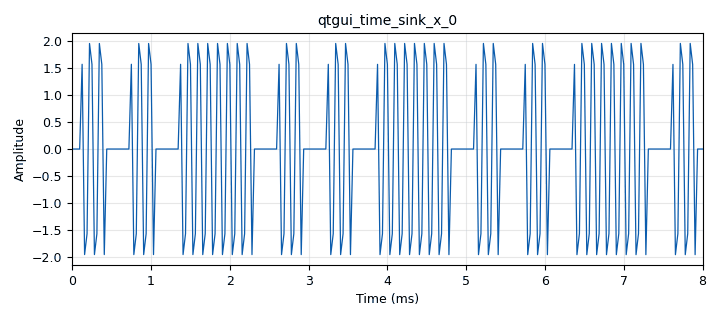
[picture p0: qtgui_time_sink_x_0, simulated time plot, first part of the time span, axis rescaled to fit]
options:
  parameters:
    author: OuDret
    generate_options: qt_gui
    id: tag
    output_language: python
    title: RFID Tag
  states: {}

blocks:
- name: amplitude
  id: variable
  parameters:
    value: '2.5'
  states: {}
- name: freq
  id: variable
  parameters:
    value: 15.56e6
  states: {}
- name: samp_rate
  id: variable
  parameters:
    value: '32000'
  states: {}
- name: tag_id
  id: variable
  parameters:
    value: (1, 0, 1, 0, 1, 0, 1, 1)
  states: {}
- name: analog_sig_source_x_0
  id: analog_sig_source_x
  parameters:
    amp: amplitude
    freq: freq
    offset: '0'
    phase: '0'
    samp_rate: samp_rate
    type: complex
    waveform: analog.GR_COS_WAVE
  states: {}
- name: blocks_complex_to_float_0
  id: blocks_complex_to_float
  parameters: {}
  states: {}
- name: blocks_file_sink_0
  id: blocks_file_sink
  parameters:
    file: /home/joan/Desktop/gnu_radio_rfid_ask/tag_signal.txt
    type: complex
  states: {}
- name: blocks_multiply_xx_0
  id: blocks_multiply_xx
  parameters:
    type: complex
  states: {}
- name: blocks_repeat_0
  id: blocks_repeat
  parameters:
    interp: '10'
    type: complex
  states: {}
- name: blocks_throttle_0
  id: blocks_throttle
  parameters:
    samples_per_second: samp_rate
    type: complex
  states: {}
- name: blocks_vector_source_x_0
  id: blocks_vector_source_x
  parameters:
    repeat: 'True'
    type: complex
    vector: tag_id
  states: {}
- name: qtgui_time_sink_x_0
  id: qtgui_time_sink_x
  parameters:
    size: '1024'
    srate: samp_rate
    type: float
  states: {}
- name: qtgui_time_sink_x_0_0
  id: qtgui_time_sink_x
  parameters:
    size: '1024'
    srate: samp_rate
    type: complex
  states: {state: disabled}
- name: soapy_bladerf_sink_0
  id: soapy_bladerf_sink
  parameters:
    center_freq: freq
    samp_rate: samp_rate
    type: fc32
  states: {state: disabled}
- name: soapy_bladerf_source_0
  id: soapy_bladerf_source
  parameters:
    center_freq: freq
    samp_rate: samp_rate
    type: fc32
  states: {state: disabled}

connections:
- [analog_sig_source_x_0, '0', blocks_multiply_xx_0, '1']
- [blocks_complex_to_float_0, '0', qtgui_time_sink_x_0, '0']
- [blocks_multiply_xx_0, '0', blocks_throttle_0, '0']
- [blocks_repeat_0, '0', blocks_multiply_xx_0, '0']
- [blocks_throttle_0, '0', blocks_complex_to_float_0, '0']
- [blocks_throttle_0, '0', blocks_file_sink_0, '0']
- [blocks_throttle_0, '0', qtgui_time_sink_x_0_0, '0']
- [blocks_throttle_0, '0', soapy_bladerf_sink_0, '0']
- [blocks_vector_source_x_0, '0', blocks_repeat_0, '0']
- [soapy_bladerf_source_0, '0', blocks_multiply_xx_0, '1']

metadata:
  file_format: 1
